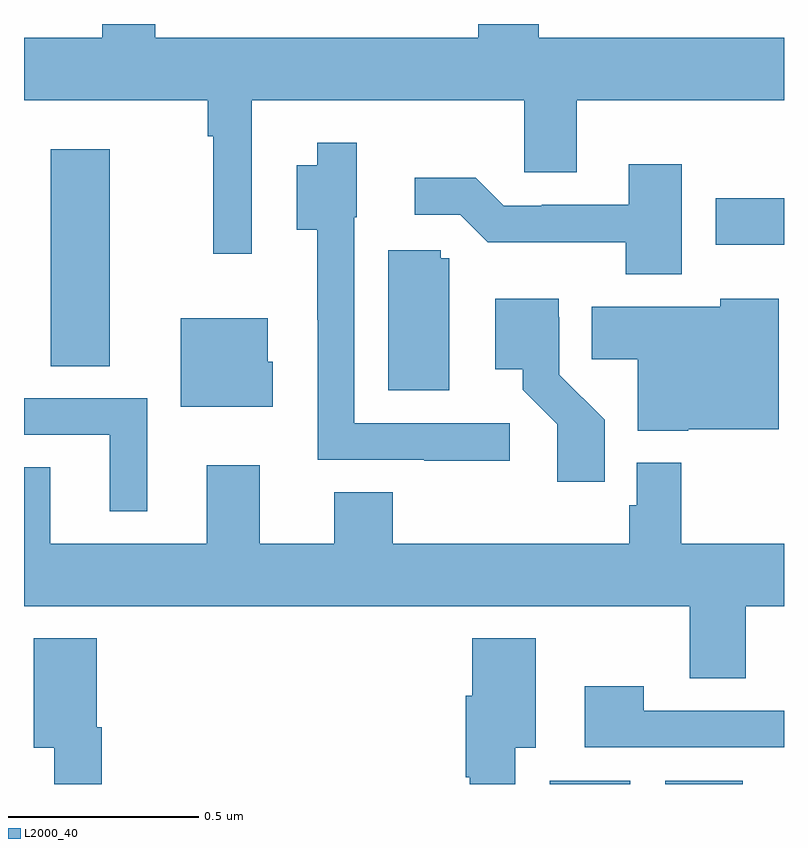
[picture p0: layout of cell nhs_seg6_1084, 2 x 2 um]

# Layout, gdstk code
import gdstk
lib = gdstk.Library(unit=1e-6, precision=1e-09)
def R(c, l, rs):  # rectangles x0, y0, x1, y1
    for r in rs: c.add(gdstk.rectangle(r[:2], r[2:], *l))
def P(c, l, *ps):  # polygons
    for p in ps: c.add(gdstk.Polygon(p, *l))
L2000_40 = (2000, 40)

nhs_seg6_1084 = lib.new_cell('nhs_seg6_1084')
R(nhs_seg6_1084, L2000_40, [(125.384,981.5,125.596,981.508), (125.687,981.5,125.892,981.508), (124.07,982.6,124.225,983.17), (125.82,982.919,126,983.041)])
P(nhs_seg6_1084, L2000_40, [(124.599,983.3),(125.316,983.3),(125.316,983.11),(125.455,983.11),(125.455,983.3),(126,983.3),(126,983.464),(125.355,983.464),(125.355,983.5),(125.195,983.5),(125.195,983.464),(124.345,983.464),(124.345,983.5),(124.206,983.5),(124.206,983.464),(124,983.464),(124,983.3),(124.483,983.3),(124.483,983.204),(124.498,983.204),(124.498,982.896),(124.599,982.896)],
  [(125.278,982.449),(124.869,982.449),(124.869,982.992),(124.876,982.992),(124.876,983.188),(124.772,983.188),(124.772,983.128),(124.718,983.128),(124.718,982.958),(124.772,982.958),(124.772,982.722),(124.773,982.722),(124.773,982.353),(125.053,982.353),(125.053,982.351),(125.278,982.351)],
  [(125.731,983.131),(125.591,983.131),(125.591,983.025),(125.362,983.025),(125.362,983.022),(125.262,983.022),(125.189,983.095),(125.028,983.095),(125.028,982.998),(125.148,982.998),(125.221,982.926),(125.584,982.926),(125.584,982.841),(125.731,982.841)],
  [(125.119,982.884),(125.097,982.884),(125.097,982.905),(124.958,982.905),(124.958,982.536),(125.119,982.536)],
  [(125.528,982.458),(125.409,982.577),(125.409,982.728),(125.407,982.728),(125.407,982.777),(125.24,982.777),(125.24,982.592),(125.312,982.592),(125.312,982.537),(125.403,982.447),(125.403,982.296),(125.528,982.296)],
  [(125.748,982.433),(125.986,982.433),(125.986,982.777),(125.832,982.777),(125.832,982.756),(125.494,982.756),(125.494,982.618),(125.615,982.618),(125.615,982.43),(125.748,982.43)],
  [(124.654,982.611),(124.642,982.611),(124.642,982.726),(124.412,982.726),(124.412,982.493),(124.654,982.493)],
  [(124.324,982.515),(124,982.515),(124,982.419),(124.226,982.419),(124.226,982.218),(124.324,982.218)],
  [(125.899,981.968),(126,981.968),(126,982.132),(125.729,982.132),(125.729,982.345),(125.613,982.345),(125.613,982.233),(125.593,982.233),(125.593,982.132),(124.97,982.132),(124.97,982.268),(124.817,982.268),(124.817,982.132),(124.621,982.132),(124.621,982.339),(124.481,982.339),(124.481,982.132),(124.069,982.132),(124.069,982.334),(124,982.334),(124,981.968),(125.752,981.968),(125.752,981.778),(125.899,981.778)],
  [(125.293,981.596),(125.347,981.596),(125.347,981.883),(125.18,981.883),(125.18,981.732),(125.162,981.732),(125.162,981.518),(125.173,981.518),(125.173,981.5),(125.293,981.5)],
  [(124.205,981.65),(124.192,981.65),(124.192,981.883),(124.025,981.883),(124.025,981.596),(124.079,981.596),(124.079,981.5),(124.205,981.5)],
  [(126,981.693),(125.631,981.693),(125.631,981.757),(125.475,981.757),(125.475,981.597),(126,981.597)])

lib.write_gds('nhs_seg6_1084.gds')
